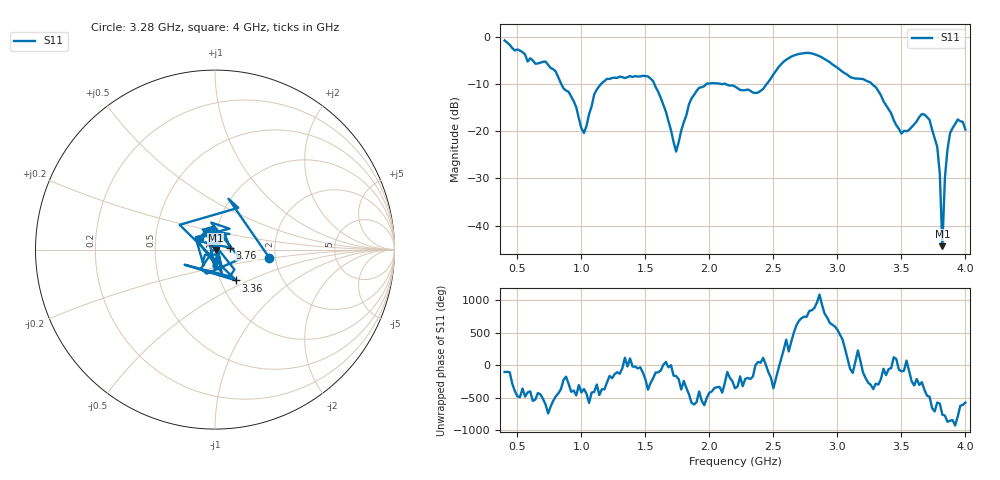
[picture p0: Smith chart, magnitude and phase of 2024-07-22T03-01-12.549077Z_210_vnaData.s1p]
!Created with skrf (http://scikit-rf.org).
# Hz S RI R 50.0
!freq ReS11 ImS11
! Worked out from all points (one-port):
!   181 points, 400 MHz to 4 GHz, reference 50 ohm
!   lowest |S11| = -44.3 dB at 3.82 GHz (marker M1), VSWR 1.01, Z = 50.4 - j0.417 ohm
!   |S11| at or under -10 dB: 1.57 GHz to 1.976 GHz (406.1 MHz wide, 22.9 % of centre); 2.126 GHz to 2.447 GHz (320.6 MHz wide, 14 % of centre); 3.271 GHz to end of sweep (the widest 3 of 5)
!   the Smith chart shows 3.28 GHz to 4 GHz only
!   S11 on the Smith chart (normalised r, x): 3.28 GHz: 1.86, -0.19; 3.36 GHz: 1.18, -0.43; 3.76 GHz: 1.18, +0.03; 4 GHz: 0.84, +0.10
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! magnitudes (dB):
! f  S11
! 400 MHz  -0.8
! 720 MHz  -5.2
! 860 MHz  -10.9
! 940 MHz  -13.6
! 1.02 GHz  -20.4
! 1.12 GHz  -11.2
! 1.3 GHz  -8.4
! 1.56 GHz  -9.4
! 1.74 GHz  -24.3
! 1.76 GHz  -22.3
! 1.84 GHz  -14.3
! 1.92 GHz  -10.8
! 2.2 GHz  -10.5
! 2.38 GHz  -11.8
! 2.66 GHz  -3.9
! 3.1 GHz  -8.5
! 3.28 GHz  -10.3
! 3.36 GHz  -13.6
! 3.5 GHz  -20.5
! 3.56 GHz  -19.7
! 3.68 GHz  -16.5
! 3.76 GHz  -21.5
! 3.8 GHz  -29.0
! 3.82 GHz  -44.3
! 3.84 GHz  -29.8
! 3.88 GHz  -20.4
! 3.94 GHz  -17.5
! 4 GHz  -19.6
